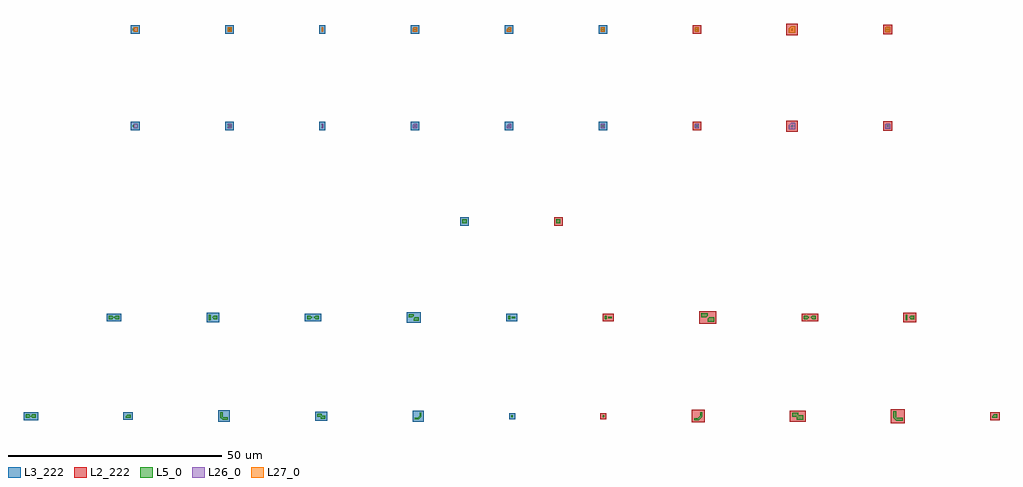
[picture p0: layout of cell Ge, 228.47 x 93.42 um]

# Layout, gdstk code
from math import pi, radians
import gdstk
lib = gdstk.Library(unit=1e-6, precision=5e-09)
def R(c, l, rs):  # rectangles x0, y0, x1, y1
    for r in rs: c.add(gdstk.rectangle(r[:2], r[2:], *l))
def P(c, l, *ps):  # polygons
    for p in ps: c.add(gdstk.Polygon(p, *l))
L2_222 = (2, 222)
L3_222 = (3, 222)
L5_0 = (5, 0)
L26_0 = (26, 0)
L27_0 = (27, 0)

compass_layerge_size0p4_ = lib.new_cell('compass_layerGE_size0p4__0p4')
R(compass_layerge_size0p4_, L5_0, [(-0.2,-0.2,0.2,0.2)])

rectangle_layerge_size0p = lib.new_cell('rectangle_layerGE_size0p4__0p4')
rectangle_layerge_size0p.add(gdstk.Reference(compass_layerge_size0p4_, (0.2,0.2)))

width_basic_width0_4_lay = lib.new_cell('width_basic_width0.4_layer_GE')
width_basic_width0_4_lay.add(gdstk.Reference(rectangle_layerge_size0p, (0,0)))

compass_abaa4390 = lib.new_cell('compass_abaa4390')
R(compass_abaa4390, L2_222, [(-0.7,-0.7,0.7,0.7)])

rectangle_abaa4390 = lib.new_cell('rectangle_abaa4390')
rectangle_abaa4390.add(gdstk.Reference(compass_abaa4390, (0.7,0.7)))

pass_fail_mk_a5a93bc7 = lib.new_cell('pass_fail_mk_a5a93bc7')
pass_fail_mk_a5a93bc7.add(gdstk.Reference(rectangle_abaa4390, (-0.5,-0.5)))
pass_fail_mk_a5a93bc7.add(gdstk.Label('ge.w.1', (-0.25,-0.25), layer=11, texttype=222))

compass_layerge_size0p39 = lib.new_cell('compass_layerGE_size0p39__0p39')
R(compass_layerge_size0p39, L5_0, [(-0.195,-0.195,0.195,0.195)])

c_rectangle_layerge_size0p = lib.new_cell('rectangle_layerGE_size0p39__0p39')
c_rectangle_layerge_size0p.add(gdstk.Reference(compass_layerge_size0p39, (0.195,0.195)))

width_basic_width0_39_la = lib.new_cell('width_basic_width0.39_layer_GE')
width_basic_width0_39_la.add(gdstk.Reference(c_rectangle_layerge_size0p, (0,0)))

compass_650bbf1b = lib.new_cell('compass_650bbf1b')
R(compass_650bbf1b, L3_222, [(-0.695,-0.695,0.695,0.695)])

rectangle_650bbf1b = lib.new_cell('rectangle_650bbf1b')
rectangle_650bbf1b.add(gdstk.Reference(compass_650bbf1b, (0.695,0.695)))

pass_fail_mk_a16e69ca = lib.new_cell('pass_fail_mk_a16e69ca')
pass_fail_mk_a16e69ca.add(gdstk.Reference(rectangle_650bbf1b, (-0.5,-0.5)))
pass_fail_mk_a16e69ca.add(gdstk.Label('ge.w.1', (-0.25,-0.25), layer=11, texttype=222))

extrude_e5152a84 = lib.new_cell('extrude_e5152a84')
P(extrude_e5152a84, L5_0, [(0,-0.25),(1.105,-0.25),(1.955,0.605),(1.955,1.705),(1.455,1.705),(1.455,0.81),(0.895,0.25),(0,0.25)])

width_45deg_width0_5_lay = lib.new_cell('width_45deg_width0.5_layer_GE')
width_45deg_width0_5_lay.add(gdstk.Reference(extrude_e5152a84, (0,0)))

compass_ff0f8aba = lib.new_cell('compass_ff0f8aba')
R(compass_ff0f8aba, L2_222, [(-1.48,-1.48,1.48,1.48)])

rectangle_ff0f8aba = lib.new_cell('rectangle_ff0f8aba')
rectangle_ff0f8aba.add(gdstk.Reference(compass_ff0f8aba, (1.48,1.48)))

pass_fail_mk_0cd017d8 = lib.new_cell('pass_fail_mk_0cd017d8')
pass_fail_mk_0cd017d8.add(gdstk.Reference(rectangle_ff0f8aba, (-0.5,-0.75)))
pass_fail_mk_0cd017d8.add(gdstk.Label('ge.w.1', (-0.25,-0.5), layer=11, texttype=222))

extrude_84ca7982 = lib.new_cell('extrude_84ca7982')
P(extrude_84ca7982, L5_0, [(0,-0.195),(0.86,-0.195),(1.525,0.47),(1.525,1.33),(1.135,1.33),(1.135,0.63),(0.7,0.195),(0,0.195)])

width_45deg_width0_39_la = lib.new_cell('width_45deg_width0.39_layer_GE')
width_45deg_width0_39_la.add(gdstk.Reference(extrude_84ca7982, (0,0)))

compass_373f1c06 = lib.new_cell('compass_373f1c06')
R(compass_373f1c06, L3_222, [(-1.265,-1.265,1.265,1.265)])

rectangle_373f1c06 = lib.new_cell('rectangle_373f1c06')
rectangle_373f1c06.add(gdstk.Reference(compass_373f1c06, (1.265,1.265)))

pass_fail_mk_d5b97daa = lib.new_cell('pass_fail_mk_d5b97daa')
pass_fail_mk_d5b97daa.add(gdstk.Reference(rectangle_373f1c06, (-0.5,-0.695)))
pass_fail_mk_d5b97daa.add(gdstk.Label('ge.w.1', (-0.25,-0.445), layer=11, texttype=222))

boolean_fb724f76 = lib.new_cell('boolean_fb724f76')
P(boolean_fb724f76, L5_0, [(1.5,1),(0.355,1),(0.355,1.645),(-1.145,1.645),(-1.145,0.645),(0,0.645),(0,0),(1.5,0)])

width_cor2cor_width0_5_l = lib.new_cell('width_cor2cor_width0.5_layer_GE')
width_cor2cor_width0_5_l.add(gdstk.Reference(boolean_fb724f76, (0,0)))

compass_5aafb171 = lib.new_cell('compass_5aafb171')
R(compass_5aafb171, L2_222, [(-1.825,-1.325,1.825,1.325)])

rectangle_5aafb171 = lib.new_cell('rectangle_5aafb171')
rectangle_5aafb171.add(gdstk.Reference(compass_5aafb171, (1.825,1.325)))

pass_fail_mk_f03dbf48 = lib.new_cell('pass_fail_mk_f03dbf48')
pass_fail_mk_f03dbf48.add(gdstk.Reference(rectangle_5aafb171, (-1.645,-0.5)))
pass_fail_mk_f03dbf48.add(gdstk.Label('ge.w.1', (-1.395,-0.25), layer=11, texttype=222))

boolean_46b64d44 = lib.new_cell('boolean_46b64d44')
P(boolean_46b64d44, L5_0, [(1.05,0.7),(0.25,0.7),(0.25,1.155),(-0.805,1.155),(-0.805,0.455),(0,0.455),(0,0),(1.05,0)])

width_cor2cor_width0_350 = lib.new_cell('width_cor2cor_width0.35000000000000003_layer_GE')
width_cor2cor_width0_350.add(gdstk.Reference(boolean_46b64d44, (0,0)))

compass_4df7383d = lib.new_cell('compass_4df7383d')
R(compass_4df7383d, L3_222, [(-1.425,-1.075,1.425,1.075)])

rectangle_4df7383d = lib.new_cell('rectangle_4df7383d')
rectangle_4df7383d.add(gdstk.Reference(compass_4df7383d, (1.425,1.075)))

pass_fail_mk_e88b8116 = lib.new_cell('pass_fail_mk_e88b8116')
pass_fail_mk_e88b8116.add(gdstk.Reference(rectangle_4df7383d, (-1.3,-0.5)))
pass_fail_mk_e88b8116.add(gdstk.Label('ge.w.1', (-1.05,-0.25), layer=11, texttype=222))

boolean_c3d1b7d9 = lib.new_cell('boolean_c3d1b7d9')
P(boolean_c3d1b7d9, L5_0, [(-0.71,1.5),(-0.71,-0.005),(-0.005,-0.71),(0,-0.71),(0,-0.71),(1.5,-0.71),(1.5,0),(0,0),(0,1.5)])

width_cor_45deg_width0_5 = lib.new_cell('width_cor_45deg_width0.5_layer_GE')
width_cor_45deg_width0_5.add(gdstk.Reference(boolean_c3d1b7d9, (0,0)))

compass_24c9d74d = lib.new_cell('compass_24c9d74d')
R(compass_24c9d74d, L2_222, [(-1.605,-1.605,1.605,1.605)])

rectangle_24c9d74d = lib.new_cell('rectangle_24c9d74d')
rectangle_24c9d74d.add(gdstk.Reference(compass_24c9d74d, (1.605,1.605)))

pass_fail_mk_6c9fe077 = lib.new_cell('pass_fail_mk_6c9fe077')
pass_fail_mk_6c9fe077.add(gdstk.Reference(rectangle_24c9d74d, (-1.21,-1.21)))
pass_fail_mk_6c9fe077.add(gdstk.Label('ge.w.1', (-0.96,-0.96), layer=11, texttype=222))

boolean_c17401a6 = lib.new_cell('boolean_c17401a6')
P(boolean_c17401a6, L5_0, [(-0.55,1.17),(-0.55,-0.005),(-0.005,-0.55),(0,-0.55),(0,-0.555),(1.17,-0.555),(1.17,0),(0,0),(0,1.17)])

width_cor_45deg_width0_3 = lib.new_cell('width_cor_45deg_width0.39_layer_GE')
width_cor_45deg_width0_3.add(gdstk.Reference(boolean_c17401a6, (0,0)))

compass_422bfea1 = lib.new_cell('compass_422bfea1')
R(compass_422bfea1, L3_222, [(-1.36,-1.36,1.36,1.36)])

rectangle_422bfea1 = lib.new_cell('rectangle_422bfea1')
rectangle_422bfea1.add(gdstk.Reference(compass_422bfea1, (1.36,1.36)))

pass_fail_mk_2394df10 = lib.new_cell('pass_fail_mk_2394df10')
pass_fail_mk_2394df10.add(gdstk.Reference(rectangle_422bfea1, (-1.05,-1.05)))
pass_fail_mk_2394df10.add(gdstk.Label('ge.w.1', (-0.8,-0.8), layer=11, texttype=222))

boolean_9537aae0 = lib.new_cell('boolean_9537aae0')
P(boolean_9537aae0, L5_0, [(1.2,0.8),(0.4,0.8),(0,0.4),(0,0),(1.2,0)])

width_cor_45deg_width0_4 = lib.new_cell('width_cor_45deg_width0.4_layer_GE')
width_cor_45deg_width0_4.add(gdstk.Reference(boolean_9537aae0, (0,0)))

compass_cb87cfef = lib.new_cell('compass_cb87cfef')
R(compass_cb87cfef, L2_222, [(-1.1,-0.9,1.1,0.9)])

rectangle_cb87cfef = lib.new_cell('rectangle_cb87cfef')
rectangle_cb87cfef.add(gdstk.Reference(compass_cb87cfef, (1.1,0.9)))

pass_fail_mk_e4c8d3e9 = lib.new_cell('pass_fail_mk_e4c8d3e9')
pass_fail_mk_e4c8d3e9.add(gdstk.Reference(rectangle_cb87cfef, (-0.5,-0.5)))
pass_fail_mk_e4c8d3e9.add(gdstk.Label('ge.w.1', (-0.25,-0.25), layer=11, texttype=222))

boolean_08bdff1a = lib.new_cell('boolean_08bdff1a')
P(boolean_08bdff1a, L5_0, [(1.17,0.78),(0.39,0.78),(0,0.39),(0,0),(1.17,0)])

c_width_cor_45deg_width0_3 = lib.new_cell('width_cor_45deg_width0.39_layer_GE$1')
c_width_cor_45deg_width0_3.add(gdstk.Reference(boolean_08bdff1a, (0,0)))

compass_3b45272a = lib.new_cell('compass_3b45272a')
R(compass_3b45272a, L3_222, [(-1.085,-0.89,1.085,0.89)])

rectangle_3b45272a = lib.new_cell('rectangle_3b45272a')
rectangle_3b45272a.add(gdstk.Reference(compass_3b45272a, (1.085,0.89)))

pass_fail_mk_0936af12 = lib.new_cell('pass_fail_mk_0936af12')
pass_fail_mk_0936af12.add(gdstk.Reference(rectangle_3b45272a, (-0.5,-0.5)))
pass_fail_mk_0936af12.add(gdstk.Label('ge.w.1', (-0.25,-0.25), layer=11, texttype=222))

boolean_e46a8f88 = lib.new_cell('boolean_e46a8f88')
P(boolean_e46a8f88, L5_0, [(0,0),(0.8,0),(0.8,0.8),(0,0.8),(0,0.8),(-0.4,0.4),(0,0)])

width_singular_width0_4_ = lib.new_cell('width_singular_width0.4_layer_GE')
width_singular_width0_4_.add(gdstk.Reference(boolean_e46a8f88, (0,0)))
width_singular_width0_4_.add(gdstk.Reference(boolean_e46a8f88, (-0.8,0.8), rotation=pi))

compass_b6777283 = lib.new_cell('compass_b6777283')
R(compass_b6777283, L3_222, [(-1.7,-0.9,1.7,0.9)])

rectangle_b6777283 = lib.new_cell('rectangle_b6777283')
rectangle_b6777283.add(gdstk.Reference(compass_b6777283, (1.7,0.9)))

pass_fail_mk_5d666cf3 = lib.new_cell('pass_fail_mk_5d666cf3')
pass_fail_mk_5d666cf3.add(gdstk.Reference(rectangle_b6777283, (-2.1,-0.5)))
pass_fail_mk_5d666cf3.add(gdstk.Label('ge.w.1', (-1.85,-0.25), layer=11, texttype=222))

width_patterns_width0_4_ = lib.new_cell('width_patterns_width0.4_layerGE')
width_patterns_width0_4_.add(gdstk.Reference(width_basic_width0_4_lay, (0,0)))
width_patterns_width0_4_.add(gdstk.Reference(pass_fail_mk_a5a93bc7, (0,0)))
width_patterns_width0_4_.add(gdstk.Reference(width_basic_width0_39_la, (-21.39,0.005)))
width_patterns_width0_4_.add(gdstk.Reference(pass_fail_mk_a16e69ca, (-21.39,0.005)))
width_patterns_width0_4_.add(gdstk.Reference(width_45deg_width0_5_lay, (21.4,-0.53)))
width_patterns_width0_4_.add(gdstk.Reference(pass_fail_mk_0cd017d8, (21.4,-0.53)))
width_patterns_width0_4_.add(gdstk.Reference(width_45deg_width0_39_la, (-43.92,-0.37)))
width_patterns_width0_4_.add(gdstk.Reference(pass_fail_mk_d5b97daa, (-43.92,-0.37)))
width_patterns_width0_4_.add(gdstk.Reference(width_cor2cor_width0_5_l, (45.5,-0.625)))
width_patterns_width0_4_.add(gdstk.Reference(pass_fail_mk_f03dbf48, (45.5,-0.625)))
width_patterns_width0_4_.add(gdstk.Reference(width_cor2cor_width0_350, (-65.97,-0.375)))
width_patterns_width0_4_.add(gdstk.Reference(pass_fail_mk_e88b8116, (-65.97,-0.375)))
width_patterns_width0_4_.add(gdstk.Reference(width_cor_45deg_width0_5, (68.71,-0.195)))
width_patterns_width0_4_.add(gdstk.Reference(pass_fail_mk_6c9fe077, (68.71,-0.195)))
width_patterns_width0_4_.add(gdstk.Reference(width_cor_45deg_width0_3, (-88.94,-0.11)))
width_patterns_width0_4_.add(gdstk.Reference(pass_fail_mk_2394df10, (-88.94,-0.11)))
width_patterns_width0_4_.add(gdstk.Reference(width_cor_45deg_width0_4, (91.21,-0.2)))
width_patterns_width0_4_.add(gdstk.Reference(pass_fail_mk_e4c8d3e9, (91.21,-0.2)))
width_patterns_width0_4_.add(gdstk.Reference(c_width_cor_45deg_width0_3, (-111.66,-0.19)))
width_patterns_width0_4_.add(gdstk.Reference(pass_fail_mk_0936af12, (-111.66,-0.19)))
width_patterns_width0_4_.add(gdstk.Reference(width_singular_width0_4_, (-133.46,-0.2)))
width_patterns_width0_4_.add(gdstk.Reference(pass_fail_mk_5d666cf3, (-133.46,-0.2)))

c_compass_layerge_size0p4_ = lib.new_cell('compass_layerGE_size0p4__0p8')
R(c_compass_layerge_size0p4_, L5_0, [(-0.2,-0.4,0.2,0.4)])

c_rectangle_layerge_size0p_ = lib.new_cell('rectangle_layerGE_size0p4__0p8')
c_rectangle_layerge_size0p_.add(gdstk.Reference(c_compass_layerge_size0p4_, (0.2,0.4)))

compass_layerge_size0p8_ = lib.new_cell('compass_layerGE_size0p8__0p4')
R(compass_layerge_size0p8_, L5_0, [(-0.4,-0.2,0.4,0.2)])

c_rectangle_layerge_size0p__ = lib.new_cell('rectangle_layerGE_size0p8__0p4')
c_rectangle_layerge_size0p__.add(gdstk.Reference(compass_layerge_size0p8_, (0.4,0.2)))

space_basic_spacing0_4_l = lib.new_cell('space_basic_spacing0.4_layer1GE_layer2GE')
space_basic_spacing0_4_l.add(gdstk.Reference(c_rectangle_layerge_size0p_, (-0.4,0.6), rotation=pi))
space_basic_spacing0_4_l.add(gdstk.Reference(c_rectangle_layerge_size0p__, (0,0)))

compass_0661bdc1 = lib.new_cell('compass_0661bdc1')
R(compass_0661bdc1, L2_222, [(-1.3,-0.9,1.3,0.9)])

rectangle_0661bdc1 = lib.new_cell('rectangle_0661bdc1')
rectangle_0661bdc1.add(gdstk.Reference(compass_0661bdc1, (1.3,0.9)))

pass_fail_mk_60c5c571 = lib.new_cell('pass_fail_mk_60c5c571')
pass_fail_mk_60c5c571.add(gdstk.Reference(rectangle_0661bdc1, (-1.3,-0.7)))
pass_fail_mk_60c5c571.add(gdstk.Label('ge.s.1', (-1.05,-0.45), layer=11, texttype=222))

space_basic_spacing0_39_ = lib.new_cell('space_basic_spacing0.39_layer1GE_layer2GE')
space_basic_spacing0_39_.add(gdstk.Reference(c_rectangle_layerge_size0p_, (-0.39,0.6), rotation=pi))
space_basic_spacing0_39_.add(gdstk.Reference(c_rectangle_layerge_size0p__, (0,0)))

compass_d3ea01bc = lib.new_cell('compass_d3ea01bc')
R(compass_d3ea01bc, L3_222, [(-1.295,-0.9,1.295,0.9)])

rectangle_d3ea01bc = lib.new_cell('rectangle_d3ea01bc')
rectangle_d3ea01bc.add(gdstk.Reference(compass_d3ea01bc, (1.295,0.9)))

pass_fail_mk_851eec26 = lib.new_cell('pass_fail_mk_851eec26')
pass_fail_mk_851eec26.add(gdstk.Reference(rectangle_d3ea01bc, (-1.29,-0.7)))
pass_fail_mk_851eec26.add(gdstk.Label('ge.s.1', (-1.04,-0.45), layer=11, texttype=222))

boolean_9f916d28 = lib.new_cell('boolean_9f916d28')
P(boolean_9f916d28, L5_0, [(1.5,1),(0.355,1),(0,0.645),(0,0),(1.5,0)])

space_45deg_spacing0_5_l = lib.new_cell('space_45deg_spacing0.5_layer1GE_layer2GE')
space_45deg_spacing0_5_l.add(gdstk.Reference(boolean_9f916d28, (0,0)))
space_45deg_spacing0_5_l.add(gdstk.Reference(boolean_9f916d28, (0,2), rotation=pi))

compass_00dc3164 = lib.new_cell('compass_00dc3164')
R(compass_00dc3164, L2_222, [(-2,-1.5,2,1.5)])

rectangle_00dc3164 = lib.new_cell('rectangle_00dc3164')
rectangle_00dc3164.add(gdstk.Reference(compass_00dc3164, (2,1.5)))

pass_fail_mk_bf537650 = lib.new_cell('pass_fail_mk_bf537650')
pass_fail_mk_bf537650.add(gdstk.Reference(rectangle_00dc3164, (-2,-0.5)))
pass_fail_mk_bf537650.add(gdstk.Label('ge.s.1', (-1.75,-0.25), layer=11, texttype=222))

boolean_9b403b2c = lib.new_cell('boolean_9b403b2c')
P(boolean_9b403b2c, L5_0, [(1.17,0.78),(0.275,0.78),(0,0.505),(0,0),(1.17,0)])

space_45deg_spacing0_39_ = lib.new_cell('space_45deg_spacing0.39_layer1GE_layer2GE')
space_45deg_spacing0_39_.add(gdstk.Reference(boolean_9b403b2c, (0,0)))
space_45deg_spacing0_39_.add(gdstk.Reference(boolean_9b403b2c, (0,1.56), rotation=pi))

compass_60910a99 = lib.new_cell('compass_60910a99')
R(compass_60910a99, L3_222, [(-1.67,-1.28,1.67,1.28)])

rectangle_60910a99 = lib.new_cell('rectangle_60910a99')
rectangle_60910a99.add(gdstk.Reference(compass_60910a99, (1.67,1.28)))

pass_fail_mk_f58d4a42 = lib.new_cell('pass_fail_mk_f58d4a42')
pass_fail_mk_f58d4a42.add(gdstk.Reference(rectangle_60910a99, (-1.67,-0.5)))
pass_fail_mk_f58d4a42.add(gdstk.Label('ge.s.1', (-1.42,-0.25), layer=11, texttype=222))

boolean_72ef2a4f = lib.new_cell('boolean_72ef2a4f')
P(boolean_72ef2a4f, L5_0, [(0,0),(0.8,0),(0.8,0.8),(0,0.8),(0,0.8),(-0.4,0.4),(0,0)])

space_cor2cor_spacing0_4 = lib.new_cell('space_cor2cor_spacing0.4_layer1GE_layer2GE')
space_cor2cor_spacing0_4.add(gdstk.Reference(boolean_e46a8f88, (0,0)))
space_cor2cor_spacing0_4.add(gdstk.Reference(boolean_72ef2a4f, (-1.2,0.8), rotation=pi))

compass_b5ef008f = lib.new_cell('compass_b5ef008f')
R(compass_b5ef008f, L2_222, [(-1.9,-0.9,1.9,0.9)])

rectangle_b5ef008f = lib.new_cell('rectangle_b5ef008f')
rectangle_b5ef008f.add(gdstk.Reference(compass_b5ef008f, (1.9,0.9)))

pass_fail_mk_611fa409 = lib.new_cell('pass_fail_mk_611fa409')
pass_fail_mk_611fa409.add(gdstk.Reference(rectangle_b5ef008f, (-2.5,-0.5)))
pass_fail_mk_611fa409.add(gdstk.Label('ge.s.1', (-2.25,-0.25), layer=11, texttype=222))

space_cor2cor_spacing0_3 = lib.new_cell('space_cor2cor_spacing0.39_layer1GE_layer2GE')
space_cor2cor_spacing0_3.add(gdstk.Reference(boolean_e46a8f88, (0,0)))
space_cor2cor_spacing0_3.add(gdstk.Reference(boolean_72ef2a4f, (-1.19,0.8), rotation=pi))

compass_1faf0ee8 = lib.new_cell('compass_1faf0ee8')
R(compass_1faf0ee8, L3_222, [(-1.895,-0.9,1.895,0.9)])

rectangle_1faf0ee8 = lib.new_cell('rectangle_1faf0ee8')
rectangle_1faf0ee8.add(gdstk.Reference(compass_1faf0ee8, (1.895,0.9)))

pass_fail_mk_289e889f = lib.new_cell('pass_fail_mk_289e889f')
pass_fail_mk_289e889f.add(gdstk.Reference(rectangle_1faf0ee8, (-2.49,-0.5)))
pass_fail_mk_289e889f.add(gdstk.Label('ge.s.1', (-2.24,-0.25), layer=11, texttype=222))

c_compass_layerge_size0p4__ = lib.new_cell('compass_layerGE_size0p4__1p2')
R(c_compass_layerge_size0p4__, L5_0, [(-0.2,-0.6,0.2,0.6)])

c_rectangle_layerge_size0p___ = lib.new_cell('rectangle_layerGE_size0p4__1p2')
c_rectangle_layerge_size0p___.add(gdstk.Reference(c_compass_layerge_size0p4__, (0.2,0.6)))

space_cor2edge_spacing0_ = lib.new_cell('space_cor2edge_spacing0.4_layer1GE_layer2GE')
space_cor2edge_spacing0_.add(gdstk.Reference(c_rectangle_layerge_size0p___, (-1.2,-0.2)))
space_cor2edge_spacing0_.add(gdstk.Reference(boolean_e46a8f88, (0,0)))

compass_ef9a3369 = lib.new_cell('compass_ef9a3369')
R(compass_ef9a3369, L2_222, [(-1.5,-1.1,1.5,1.1)])

rectangle_ef9a3369 = lib.new_cell('rectangle_ef9a3369')
rectangle_ef9a3369.add(gdstk.Reference(compass_ef9a3369, (1.5,1.1)))

pass_fail_mk_819e8e96 = lib.new_cell('pass_fail_mk_819e8e96')
pass_fail_mk_819e8e96.add(gdstk.Reference(rectangle_ef9a3369, (-1.7,-0.7)))
pass_fail_mk_819e8e96.add(gdstk.Label('ge.s.1', (-1.45,-0.45), layer=11, texttype=222))

c_space_cor2edge_spacing0_ = lib.new_cell('space_cor2edge_spacing0.39_layer1GE_layer2GE')
c_space_cor2edge_spacing0_.add(gdstk.Reference(c_rectangle_layerge_size0p___, (-1.19,-0.2)))
c_space_cor2edge_spacing0_.add(gdstk.Reference(boolean_e46a8f88, (0,0)))

compass_b10f19f7 = lib.new_cell('compass_b10f19f7')
R(compass_b10f19f7, L3_222, [(-1.495,-1.1,1.495,1.1)])

rectangle_b10f19f7 = lib.new_cell('rectangle_b10f19f7')
rectangle_b10f19f7.add(gdstk.Reference(compass_b10f19f7, (1.495,1.1)))

pass_fail_mk_886cc82d = lib.new_cell('pass_fail_mk_886cc82d')
pass_fail_mk_886cc82d.add(gdstk.Reference(rectangle_b10f19f7, (-1.69,-0.7)))
pass_fail_mk_886cc82d.add(gdstk.Label('ge.s.1', (-1.44,-0.45), layer=11, texttype=222))

space_singular_layer1ge_ = lib.new_cell('space_singular_layer1GE_layer2GE')
space_singular_layer1ge_.add(gdstk.Reference(boolean_e46a8f88, (0,0)))
space_singular_layer1ge_.add(gdstk.Reference(boolean_e46a8f88, (-0.8,0.8), rotation=pi))

pass_fail_mk_fc5fe479 = lib.new_cell('pass_fail_mk_fc5fe479')
pass_fail_mk_fc5fe479.add(gdstk.Reference(rectangle_b6777283, (-2.1,-0.5)))
pass_fail_mk_fc5fe479.add(gdstk.Label('ge.s.1', (-1.85,-0.25), layer=11, texttype=222))

space_patterns_width0_4_ = lib.new_cell('space_patterns_width0.4_layer1GE_layer2GE')
space_patterns_width0_4_.add(gdstk.Reference(space_basic_spacing0_4_l, (0,0)))
space_patterns_width0_4_.add(gdstk.Reference(pass_fail_mk_60c5c571, (0,0)))
space_patterns_width0_4_.add(gdstk.Reference(space_basic_spacing0_39_, (-22.6,0)))
space_patterns_width0_4_.add(gdstk.Reference(pass_fail_mk_851eec26, (-22.6,0)))
space_patterns_width0_4_.add(gdstk.Reference(space_45deg_spacing0_5_l, (23.3,-0.8)))
space_patterns_width0_4_.add(gdstk.Reference(pass_fail_mk_bf537650, (23.3,-0.8)))
space_patterns_width0_4_.add(gdstk.Reference(space_45deg_spacing0_39_, (-45.56,-0.58)))
space_patterns_width0_4_.add(gdstk.Reference(pass_fail_mk_f58d4a42, (-45.56,-0.58)))
space_patterns_width0_4_.add(gdstk.Reference(space_cor2cor_spacing0_4, (47.8,-0.2)))
space_patterns_width0_4_.add(gdstk.Reference(pass_fail_mk_611fa409, (47.8,-0.2)))
space_patterns_width0_4_.add(gdstk.Reference(space_cor2cor_spacing0_3, (-68.53,-0.2)))
space_patterns_width0_4_.add(gdstk.Reference(pass_fail_mk_289e889f, (-68.53,-0.2)))
space_patterns_width0_4_.add(gdstk.Reference(space_cor2edge_spacing0_, (70.8,-0.2)))
space_patterns_width0_4_.add(gdstk.Reference(pass_fail_mk_819e8e96, (70.8,-0.2)))
space_patterns_width0_4_.add(gdstk.Reference(c_space_cor2edge_spacing0_, (-92.32,-0.2)))
space_patterns_width0_4_.add(gdstk.Reference(pass_fail_mk_886cc82d, (-92.32,-0.2)))
space_patterns_width0_4_.add(gdstk.Reference(space_singular_layer1ge_, (-115.31,-0.2)))
space_patterns_width0_4_.add(gdstk.Reference(pass_fail_mk_fc5fe479, (-115.31,-0.2)))

compass_layerge_size1p00 = lib.new_cell('compass_layerGE_size1p005__1p005')
R(compass_layerge_size1p00, L5_0, [(-0.5,-0.5,0.5,0.5)])

rectangle_layerge_size1p = lib.new_cell('rectangle_layerGE_size1p005__1p005')
rectangle_layerge_size1p.add(gdstk.Reference(compass_layerge_size1p00, (0.5,0.5)))

area_basic_area1_01_laye = lib.new_cell('area_basic_area1.01_layerGE')
area_basic_area1_01_laye.add(gdstk.Reference(rectangle_layerge_size1p, (0,0)))

compass_880567ed = lib.new_cell('compass_880567ed')
R(compass_880567ed, L2_222, [(-1,-1,1,1)])

rectangle_880567ed = lib.new_cell('rectangle_880567ed')
rectangle_880567ed.add(gdstk.Reference(compass_880567ed, (1,1)))

pass_fail_mk_dd180202 = lib.new_cell('pass_fail_mk_dd180202')
pass_fail_mk_dd180202.add(gdstk.Reference(rectangle_880567ed, (-0.5,-0.5)))
pass_fail_mk_dd180202.add(gdstk.Label('ge.a.1', (-0.25,-0.25), layer=11, texttype=222))

compass_layerge_size0p94 = lib.new_cell('compass_layerGE_size0p949__0p949')
R(compass_layerge_size0p94, L5_0, [(-0.475,-0.475,0.475,0.475)])

c_rectangle_layerge_size0p____ = lib.new_cell('rectangle_layerGE_size0p949__0p949')
c_rectangle_layerge_size0p____.add(gdstk.Reference(compass_layerge_size0p94, (0.475,0.475)))

area_basic_area0_9_layer = lib.new_cell('area_basic_area0.9_layerGE')
area_basic_area0_9_layer.add(gdstk.Reference(c_rectangle_layerge_size0p____, (0,0)))

compass_da02a2ad = lib.new_cell('compass_da02a2ad')
R(compass_da02a2ad, L3_222, [(-0.975,-0.975,0.975,0.975)])

rectangle_da02a2ad = lib.new_cell('rectangle_da02a2ad')
rectangle_da02a2ad.add(gdstk.Reference(compass_da02a2ad, (0.975,0.975)))

pass_fail_mk_9d509505 = lib.new_cell('pass_fail_mk_9d509505')
pass_fail_mk_9d509505.add(gdstk.Reference(rectangle_da02a2ad, (-0.5,-0.5)))
pass_fail_mk_9d509505.add(gdstk.Label('ge.a.1', (-0.25,-0.25), layer=11, texttype=222))

area_patterns_area1_0_la = lib.new_cell('area_patterns_area1.0_layerGE')
area_patterns_area1_0_la.add(gdstk.Reference(area_basic_area1_01_laye, (0,0)))
area_patterns_area1_0_la.add(gdstk.Reference(pass_fail_mk_dd180202, (0,0)))
area_patterns_area1_0_la.add(gdstk.Reference(area_basic_area0_9_layer, (-21.95,0.03)))
area_patterns_area1_0_la.add(gdstk.Reference(pass_fail_mk_9d509505, (-21.95,0.025)))

compass_layergen_size1p0 = lib.new_cell('compass_layerGEN_size1p0__1p0')
R(compass_layergen_size1p0, L26_0, [(-0.5,-0.5,0.5,0.5)])

rectangle_layergen_size1 = lib.new_cell('rectangle_layerGEN_size1p0__1p0')
rectangle_layergen_size1.add(gdstk.Reference(compass_layergen_size1p0, (0.5,0.5)))

enclose_basic_enc0_3_wid = lib.new_cell('enclose_basic_enc0.3_width0.4_layer_GE_enc_layerGEN')
enclose_basic_enc0_3_wid.add(gdstk.Reference(rectangle_layerge_size0p, (0,0)))
enclose_basic_enc0_3_wid.add(gdstk.Reference(rectangle_layergen_size1, (-0.3,-0.3)))

compass_20d580df = lib.new_cell('compass_20d580df')
R(compass_20d580df, L2_222, [(-1,-1,1,1)])

rectangle_20d580df = lib.new_cell('rectangle_20d580df')
rectangle_20d580df.add(gdstk.Reference(compass_20d580df, (1,1)))

pass_fail_mk_ff467fae = lib.new_cell('pass_fail_mk_ff467fae')
pass_fail_mk_ff467fae.add(gdstk.Reference(rectangle_20d580df, (-0.8,-0.8)))
pass_fail_mk_ff467fae.add(gdstk.Label('ge.en.1', (-0.55,-0.55), layer=11, texttype=222))

compass_layergen_size0p9 = lib.new_cell('compass_layerGEN_size0p98__0p98')
R(compass_layergen_size0p9, L26_0, [(-0.49,-0.49,0.49,0.49)])

rectangle_layergen_size0 = lib.new_cell('rectangle_layerGEN_size0p98__0p98')
rectangle_layergen_size0.add(gdstk.Reference(compass_layergen_size0p9, (0.49,0.49)))

enclose_basic_enc0_29_wi = lib.new_cell('enclose_basic_enc0.29_width0.4_layer_GE_enc_layerGEN')
enclose_basic_enc0_29_wi.add(gdstk.Reference(rectangle_layerge_size0p, (0,0)))
enclose_basic_enc0_29_wi.add(gdstk.Reference(rectangle_layergen_size0, (-0.29,-0.29)))

compass_efdcafa3 = lib.new_cell('compass_efdcafa3')
R(compass_efdcafa3, L3_222, [(-0.99,-0.99,0.99,0.99)])

rectangle_efdcafa3 = lib.new_cell('rectangle_efdcafa3')
rectangle_efdcafa3.add(gdstk.Reference(compass_efdcafa3, (0.99,0.99)))

pass_fail_mk_30ee1828 = lib.new_cell('pass_fail_mk_30ee1828')
pass_fail_mk_30ee1828.add(gdstk.Reference(rectangle_efdcafa3, (-0.79,-0.79)))
pass_fail_mk_30ee1828.add(gdstk.Label('ge.en.1', (-0.54,-0.54), layer=11, texttype=222))

boolean_d471c5e5 = lib.new_cell('boolean_d471c5e5')
P(boolean_d471c5e5, L5_0, [(0.4,0.4),(0.14,0.4),(0,0.26),(0,0),(0.4,0)])

boolean_d11883be = lib.new_cell('boolean_d11883be')
P(boolean_d11883be, L26_0, [(1,1),(-0.01,1),(-0.6,0.41),(-0.6,-0.6),(1,-0.6)])

enclose_45deg_enc0_6_wid = lib.new_cell('enclose_45deg_enc0.6_width0.4_layer_GE_enc_layerGEN')
enclose_45deg_enc0_6_wid.add(gdstk.Reference(boolean_d471c5e5, (0,0)))
enclose_45deg_enc0_6_wid.add(gdstk.Reference(boolean_d11883be, (0,0)))

compass_b90d489f = lib.new_cell('compass_b90d489f')
R(compass_b90d489f, L2_222, [(-1.3,-1.3,1.3,1.3)])

rectangle_b90d489f = lib.new_cell('rectangle_b90d489f')
rectangle_b90d489f.add(gdstk.Reference(compass_b90d489f, (1.3,1.3)))

pass_fail_mk_25881f6f = lib.new_cell('pass_fail_mk_25881f6f')
pass_fail_mk_25881f6f.add(gdstk.Reference(rectangle_b90d489f, (-1.1,-1.1)))
pass_fail_mk_25881f6f.add(gdstk.Label('ge.en.1', (-0.85,-0.85), layer=11, texttype=222))

boolean_49873eeb = lib.new_cell('boolean_49873eeb')
P(boolean_49873eeb, L26_0, [(0.69,0.69),(0.1,0.69),(-0.29,0.305),(-0.29,-0.29),(0.69,-0.29)])

enclose_45deg_enc0_29_wi = lib.new_cell('enclose_45deg_enc0.29_width0.4_layer_GE_enc_layerGEN')
enclose_45deg_enc0_29_wi.add(gdstk.Reference(boolean_d471c5e5, (0,0)))
enclose_45deg_enc0_29_wi.add(gdstk.Reference(boolean_49873eeb, (0,0)))

pass_fail_mk_de88c3e2 = lib.new_cell('pass_fail_mk_de88c3e2')
pass_fail_mk_de88c3e2.add(gdstk.Reference(rectangle_efdcafa3, (-0.79,-0.79)))
pass_fail_mk_de88c3e2.add(gdstk.Label('ge.en.1', (-0.54,-0.54), layer=11, texttype=222))

boolean_14fe107b = lib.new_cell('boolean_14fe107b')
P(boolean_14fe107b, L26_0, [(0.8,0.8),(-0.17,0.8),(-0.4,0.57),(-0.4,-0.4),(0.8,-0.4)])

enclose_cor2edge_enc0_4_ = lib.new_cell('enclose_cor2edge_enc0.4_width0.4_layer_GE_enc_layerGEN')
enclose_cor2edge_enc0_4_.add(gdstk.Reference(rectangle_layerge_size0p, (0,0)))
enclose_cor2edge_enc0_4_.add(gdstk.Reference(boolean_14fe107b, (0,0)))

compass_c5716439 = lib.new_cell('compass_c5716439')
R(compass_c5716439, L2_222, [(-1.1,-1.1,1.1,1.1)])

rectangle_c5716439 = lib.new_cell('rectangle_c5716439')
rectangle_c5716439.add(gdstk.Reference(compass_c5716439, (1.1,1.1)))

pass_fail_mk_ee99c1ff = lib.new_cell('pass_fail_mk_ee99c1ff')
pass_fail_mk_ee99c1ff.add(gdstk.Reference(rectangle_c5716439, (-0.9,-0.9)))
pass_fail_mk_ee99c1ff.add(gdstk.Label('ge.en.1', (-0.65,-0.65), layer=11, texttype=222))

boolean_43195f29 = lib.new_cell('boolean_43195f29')
P(boolean_43195f29, L26_0, [(0.69,0.69),(-0.125,0.69),(-0.29,0.525),(-0.29,-0.29),(0.69,-0.29)])

enclose_cor2edge_enc0_29 = lib.new_cell('enclose_cor2edge_enc0.29_width0.4_layer_GE_enc_layerGEN')
enclose_cor2edge_enc0_29.add(gdstk.Reference(rectangle_layerge_size0p, (0,0)))
enclose_cor2edge_enc0_29.add(gdstk.Reference(boolean_43195f29, (0,0)))

pass_fail_mk_73b75c9e = lib.new_cell('pass_fail_mk_73b75c9e')
pass_fail_mk_73b75c9e.add(gdstk.Reference(rectangle_efdcafa3, (-0.79,-0.79)))
pass_fail_mk_73b75c9e.add(gdstk.Label('ge.en.1', (-0.54,-0.54), layer=11, texttype=222))

compass_layergen_size0p4 = lib.new_cell('compass_layerGEN_size0p4__0p98')
R(compass_layergen_size0p4, L26_0, [(-0.2,-0.49,0.2,0.49)])

c_rectangle_layergen_size0 = lib.new_cell('rectangle_layerGEN_size0p4__0p98')
c_rectangle_layergen_size0.add(gdstk.Reference(compass_layergen_size0p4, (0.2,0.49)))

enclose_touch_enc0_29_wi = lib.new_cell('enclose_touch_enc0.29_width0.4_layer_GE_enc_layerGEN')
enclose_touch_enc0_29_wi.add(gdstk.Reference(rectangle_layerge_size0p, (0,0)))
enclose_touch_enc0_29_wi.add(gdstk.Reference(c_rectangle_layergen_size0, (0,-0.29)))

compass_57927fd1 = lib.new_cell('compass_57927fd1')
R(compass_57927fd1, L3_222, [(-0.7,-0.99,0.7,0.99)])

rectangle_57927fd1 = lib.new_cell('rectangle_57927fd1')
rectangle_57927fd1.add(gdstk.Reference(compass_57927fd1, (0.7,0.99)))

pass_fail_mk_359e8c46 = lib.new_cell('pass_fail_mk_359e8c46')
pass_fail_mk_359e8c46.add(gdstk.Reference(rectangle_57927fd1, (-0.5,-0.79)))
pass_fail_mk_359e8c46.add(gdstk.Label('ge.en.1', (-0.25,-0.54), layer=11, texttype=222))

boolean_645972d4 = lib.new_cell('boolean_645972d4')
P(boolean_645972d4, L26_0, [(0.7,0.7),(-0.3,0.7),(-0.3,0.05),(0.05,0.05),(0.05,0.35),(0.35,0.35),(0.35,0.05),(0.05,0.05),(-0.3,0.05),(-0.3,-0.3),(0.7,-0.3)])

enclose_hole_enc0_3_widt = lib.new_cell('enclose_hole_enc0.3_width0.4_layer_GE_enc_layerGEN')
enclose_hole_enc0_3_widt.add(gdstk.Reference(rectangle_layerge_size0p, (0,0)))
enclose_hole_enc0_3_widt.add(gdstk.Reference(boolean_645972d4, (0,0)))

compass_27b5055d = lib.new_cell('compass_27b5055d')
R(compass_27b5055d, L3_222, [(-1,-1,1,1)])

rectangle_27b5055d = lib.new_cell('rectangle_27b5055d')
rectangle_27b5055d.add(gdstk.Reference(compass_27b5055d, (1,1)))

pass_fail_mk_8779e820 = lib.new_cell('pass_fail_mk_8779e820')
pass_fail_mk_8779e820.add(gdstk.Reference(rectangle_27b5055d, (-0.8,-0.8)))
pass_fail_mk_8779e820.add(gdstk.Label('ge.en.1', (-0.55,-0.55), layer=11, texttype=222))

enclose_intersect_enc0_3 = lib.new_cell('enclose_intersect_enc0.3_width0.4_layer_GE_enc_layerGEN')
enclose_intersect_enc0_3.add(gdstk.Reference(rectangle_layerge_size0p, (-0.5,0)))
enclose_intersect_enc0_3.add(gdstk.Reference(rectangle_layergen_size1, (-0.3,-0.3)))

compass_29ad2784 = lib.new_cell('compass_29ad2784')
R(compass_29ad2784, L3_222, [(-1.1,-1,1.1,1)])

rectangle_29ad2784 = lib.new_cell('rectangle_29ad2784')
rectangle_29ad2784.add(gdstk.Reference(compass_29ad2784, (1.1,1)))

pass_fail_mk_fdb2cc61 = lib.new_cell('pass_fail_mk_fdb2cc61')
pass_fail_mk_fdb2cc61.add(gdstk.Reference(rectangle_29ad2784, (-1,-0.8)))
pass_fail_mk_fdb2cc61.add(gdstk.Label('ge.en.1', (-0.75,-0.55), layer=11, texttype=222))

enclose_patterns_enclosu = lib.new_cell('enclose_patterns_enclosure0.3_width0.4_layerGE_enc_layerGEN')
enclose_patterns_enclosu.add(gdstk.Reference(enclose_basic_enc0_3_wid, (0,0)))
enclose_patterns_enclosu.add(gdstk.Reference(pass_fail_mk_ff467fae, (0,0)))
enclose_patterns_enclosu.add(gdstk.Reference(enclose_basic_enc0_29_wi, (-21.99,0)))
enclose_patterns_enclosu.add(gdstk.Reference(pass_fail_mk_30ee1828, (-21.99,0)))
enclose_patterns_enclosu.add(gdstk.Reference(enclose_45deg_enc0_6_wid, (22.3,0)))
enclose_patterns_enclosu.add(gdstk.Reference(pass_fail_mk_25881f6f, (22.3,0)))
enclose_patterns_enclosu.add(gdstk.Reference(enclose_45deg_enc0_29_wi, (-43.97,0)))
enclose_patterns_enclosu.add(gdstk.Reference(pass_fail_mk_de88c3e2, (-43.97,0)))
enclose_patterns_enclosu.add(gdstk.Reference(enclose_cor2edge_enc0_4_, (44.7,0)))
enclose_patterns_enclosu.add(gdstk.Reference(pass_fail_mk_ee99c1ff, (44.7,0)))
enclose_patterns_enclosu.add(gdstk.Reference(enclose_cor2edge_enc0_29, (-65.95,0)))
enclose_patterns_enclosu.add(gdstk.Reference(pass_fail_mk_73b75c9e, (-65.95,0)))
enclose_patterns_enclosu.add(gdstk.Reference(enclose_touch_enc0_29_wi, (-87.64,0)))
enclose_patterns_enclosu.add(gdstk.Reference(pass_fail_mk_359e8c46, (-87.64,0)))
enclose_patterns_enclosu.add(gdstk.Reference(enclose_hole_enc0_3_widt, (-109.34,0)))
enclose_patterns_enclosu.add(gdstk.Reference(pass_fail_mk_8779e820, (-109.34,0)))
enclose_patterns_enclosu.add(gdstk.Reference(enclose_intersect_enc0_3, (-131.34,0)))
enclose_patterns_enclosu.add(gdstk.Reference(pass_fail_mk_fdb2cc61, (-131.34,0)))

compass_layergep_size1p0 = lib.new_cell('compass_layerGEP_size1p0__1p0')
R(compass_layergep_size1p0, L27_0, [(-0.5,-0.5,0.5,0.5)])

rectangle_layergep_size1 = lib.new_cell('rectangle_layerGEP_size1p0__1p0')
rectangle_layergep_size1.add(gdstk.Reference(compass_layergep_size1p0, (0.5,0.5)))

c_enclose_basic_enc0_3_wid = lib.new_cell('enclose_basic_enc0.3_width0.4_layer_GE_enc_layerGEP')
c_enclose_basic_enc0_3_wid.add(gdstk.Reference(rectangle_layerge_size0p, (0,0)))
c_enclose_basic_enc0_3_wid.add(gdstk.Reference(rectangle_layergep_size1, (-0.3,-0.3)))

pass_fail_mk_aa3016c9 = lib.new_cell('pass_fail_mk_aa3016c9')
pass_fail_mk_aa3016c9.add(gdstk.Reference(rectangle_20d580df, (-0.8,-0.8)))
pass_fail_mk_aa3016c9.add(gdstk.Label('ge.en.2', (-0.55,-0.55), layer=11, texttype=222))

compass_layergep_size0p9 = lib.new_cell('compass_layerGEP_size0p98__0p98')
R(compass_layergep_size0p9, L27_0, [(-0.49,-0.49,0.49,0.49)])

rectangle_layergep_size0 = lib.new_cell('rectangle_layerGEP_size0p98__0p98')
rectangle_layergep_size0.add(gdstk.Reference(compass_layergep_size0p9, (0.49,0.49)))

c_enclose_basic_enc0_29_wi = lib.new_cell('enclose_basic_enc0.29_width0.4_layer_GE_enc_layerGEP')
c_enclose_basic_enc0_29_wi.add(gdstk.Reference(rectangle_layerge_size0p, (0,0)))
c_enclose_basic_enc0_29_wi.add(gdstk.Reference(rectangle_layergep_size0, (-0.29,-0.29)))

pass_fail_mk_ba10ad67 = lib.new_cell('pass_fail_mk_ba10ad67')
pass_fail_mk_ba10ad67.add(gdstk.Reference(rectangle_efdcafa3, (-0.79,-0.79)))
pass_fail_mk_ba10ad67.add(gdstk.Label('ge.en.2', (-0.54,-0.54), layer=11, texttype=222))

boolean_d11b5569 = lib.new_cell('boolean_d11b5569')
P(boolean_d11b5569, L27_0, [(1,1),(-0.01,1),(-0.6,0.41),(-0.6,-0.6),(1,-0.6)])

c_enclose_45deg_enc0_6_wid = lib.new_cell('enclose_45deg_enc0.6_width0.4_layer_GE_enc_layerGEP')
c_enclose_45deg_enc0_6_wid.add(gdstk.Reference(boolean_d471c5e5, (0,0)))
c_enclose_45deg_enc0_6_wid.add(gdstk.Reference(boolean_d11b5569, (0,0)))

pass_fail_mk_9584cf18 = lib.new_cell('pass_fail_mk_9584cf18')
pass_fail_mk_9584cf18.add(gdstk.Reference(rectangle_b90d489f, (-1.1,-1.1)))
pass_fail_mk_9584cf18.add(gdstk.Label('ge.en.2', (-0.85,-0.85), layer=11, texttype=222))

boolean_dd6a707a = lib.new_cell('boolean_dd6a707a')
P(boolean_dd6a707a, L27_0, [(0.69,0.69),(0.1,0.69),(-0.29,0.305),(-0.29,-0.29),(0.69,-0.29)])

c_enclose_45deg_enc0_29_wi = lib.new_cell('enclose_45deg_enc0.29_width0.4_layer_GE_enc_layerGEP')
c_enclose_45deg_enc0_29_wi.add(gdstk.Reference(boolean_d471c5e5, (0,0)))
c_enclose_45deg_enc0_29_wi.add(gdstk.Reference(boolean_dd6a707a, (0,0)))

pass_fail_mk_41ecb2c1 = lib.new_cell('pass_fail_mk_41ecb2c1')
pass_fail_mk_41ecb2c1.add(gdstk.Reference(rectangle_efdcafa3, (-0.79,-0.79)))
pass_fail_mk_41ecb2c1.add(gdstk.Label('ge.en.2', (-0.54,-0.54), layer=11, texttype=222))

boolean_61ec3c66 = lib.new_cell('boolean_61ec3c66')
P(boolean_61ec3c66, L27_0, [(0.8,0.8),(-0.17,0.8),(-0.4,0.57),(-0.4,-0.4),(0.8,-0.4)])

c_enclose_cor2edge_enc0_4_ = lib.new_cell('enclose_cor2edge_enc0.4_width0.4_layer_GE_enc_layerGEP')
c_enclose_cor2edge_enc0_4_.add(gdstk.Reference(rectangle_layerge_size0p, (0,0)))
c_enclose_cor2edge_enc0_4_.add(gdstk.Reference(boolean_61ec3c66, (0,0)))

pass_fail_mk_0a148bc4 = lib.new_cell('pass_fail_mk_0a148bc4')
pass_fail_mk_0a148bc4.add(gdstk.Reference(rectangle_c5716439, (-0.9,-0.9)))
pass_fail_mk_0a148bc4.add(gdstk.Label('ge.en.2', (-0.65,-0.65), layer=11, texttype=222))

boolean_35f31bdc = lib.new_cell('boolean_35f31bdc')
P(boolean_35f31bdc, L27_0, [(0.69,0.69),(-0.125,0.69),(-0.29,0.525),(-0.29,-0.29),(0.69,-0.29)])

c_enclose_cor2edge_enc0_29 = lib.new_cell('enclose_cor2edge_enc0.29_width0.4_layer_GE_enc_layerGEP')
c_enclose_cor2edge_enc0_29.add(gdstk.Reference(rectangle_layerge_size0p, (0,0)))
c_enclose_cor2edge_enc0_29.add(gdstk.Reference(boolean_35f31bdc, (0,0)))

pass_fail_mk_ab4abe57 = lib.new_cell('pass_fail_mk_ab4abe57')
pass_fail_mk_ab4abe57.add(gdstk.Reference(rectangle_efdcafa3, (-0.79,-0.79)))
pass_fail_mk_ab4abe57.add(gdstk.Label('ge.en.2', (-0.54,-0.54), layer=11, texttype=222))

compass_layergep_size0p4 = lib.new_cell('compass_layerGEP_size0p4__0p98')
R(compass_layergep_size0p4, L27_0, [(-0.2,-0.49,0.2,0.49)])

c_rectangle_layergep_size0 = lib.new_cell('rectangle_layerGEP_size0p4__0p98')
c_rectangle_layergep_size0.add(gdstk.Reference(compass_layergep_size0p4, (0.2,0.49)))

c_enclose_touch_enc0_29_wi = lib.new_cell('enclose_touch_enc0.29_width0.4_layer_GE_enc_layerGEP')
c_enclose_touch_enc0_29_wi.add(gdstk.Reference(rectangle_layerge_size0p, (0,0)))
c_enclose_touch_enc0_29_wi.add(gdstk.Reference(c_rectangle_layergep_size0, (0,-0.29)))

pass_fail_mk_60cee0eb = lib.new_cell('pass_fail_mk_60cee0eb')
pass_fail_mk_60cee0eb.add(gdstk.Reference(rectangle_57927fd1, (-0.5,-0.79)))
pass_fail_mk_60cee0eb.add(gdstk.Label('ge.en.2', (-0.25,-0.54), layer=11, texttype=222))

boolean_ead32ee1 = lib.new_cell('boolean_ead32ee1')
P(boolean_ead32ee1, L27_0, [(0.7,0.7),(-0.3,0.7),(-0.3,0.05),(0.05,0.05),(0.05,0.35),(0.35,0.35),(0.35,0.05),(0.05,0.05),(-0.3,0.05),(-0.3,-0.3),(0.7,-0.3)])

c_enclose_hole_enc0_3_widt = lib.new_cell('enclose_hole_enc0.3_width0.4_layer_GE_enc_layerGEP')
c_enclose_hole_enc0_3_widt.add(gdstk.Reference(rectangle_layerge_size0p, (0,0)))
c_enclose_hole_enc0_3_widt.add(gdstk.Reference(boolean_ead32ee1, (0,0)))

pass_fail_mk_11eb7d58 = lib.new_cell('pass_fail_mk_11eb7d58')
pass_fail_mk_11eb7d58.add(gdstk.Reference(rectangle_27b5055d, (-0.8,-0.8)))
pass_fail_mk_11eb7d58.add(gdstk.Label('ge.en.2', (-0.55,-0.55), layer=11, texttype=222))

c_enclose_intersect_enc0_3 = lib.new_cell('enclose_intersect_enc0.3_width0.4_layer_GE_enc_layerGEP')
c_enclose_intersect_enc0_3.add(gdstk.Reference(rectangle_layerge_size0p, (-0.5,0)))
c_enclose_intersect_enc0_3.add(gdstk.Reference(rectangle_layergep_size1, (-0.3,-0.3)))

pass_fail_mk_c2f246d6 = lib.new_cell('pass_fail_mk_c2f246d6')
pass_fail_mk_c2f246d6.add(gdstk.Reference(rectangle_29ad2784, (-1,-0.8)))
pass_fail_mk_c2f246d6.add(gdstk.Label('ge.en.2', (-0.75,-0.55), layer=11, texttype=222))

c_enclose_patterns_enclosu = lib.new_cell('enclose_patterns_enclosure0.3_width0.4_layerGE_enc_layerGEP')
c_enclose_patterns_enclosu.add(gdstk.Reference(c_enclose_basic_enc0_3_wid, (0,0)))
c_enclose_patterns_enclosu.add(gdstk.Reference(pass_fail_mk_aa3016c9, (0,0)))
c_enclose_patterns_enclosu.add(gdstk.Reference(c_enclose_basic_enc0_29_wi, (-21.99,0)))
c_enclose_patterns_enclosu.add(gdstk.Reference(pass_fail_mk_ba10ad67, (-21.99,0)))
c_enclose_patterns_enclosu.add(gdstk.Reference(c_enclose_45deg_enc0_6_wid, (22.3,0)))
c_enclose_patterns_enclosu.add(gdstk.Reference(pass_fail_mk_9584cf18, (22.3,0)))
c_enclose_patterns_enclosu.add(gdstk.Reference(c_enclose_45deg_enc0_29_wi, (-43.97,0)))
c_enclose_patterns_enclosu.add(gdstk.Reference(pass_fail_mk_41ecb2c1, (-43.97,0)))
c_enclose_patterns_enclosu.add(gdstk.Reference(c_enclose_cor2edge_enc0_4_, (44.7,0)))
c_enclose_patterns_enclosu.add(gdstk.Reference(pass_fail_mk_0a148bc4, (44.7,0)))
c_enclose_patterns_enclosu.add(gdstk.Reference(c_enclose_cor2edge_enc0_29, (-65.95,0)))
c_enclose_patterns_enclosu.add(gdstk.Reference(pass_fail_mk_ab4abe57, (-65.95,0)))
c_enclose_patterns_enclosu.add(gdstk.Reference(c_enclose_touch_enc0_29_wi, (-87.64,0)))
c_enclose_patterns_enclosu.add(gdstk.Reference(pass_fail_mk_60cee0eb, (-87.64,0)))
c_enclose_patterns_enclosu.add(gdstk.Reference(c_enclose_hole_enc0_3_widt, (-109.34,0)))
c_enclose_patterns_enclosu.add(gdstk.Reference(pass_fail_mk_11eb7d58, (-109.34,0)))
c_enclose_patterns_enclosu.add(gdstk.Reference(c_enclose_intersect_enc0_3, (-131.34,0)))
c_enclose_patterns_enclosu.add(gdstk.Reference(pass_fail_mk_c2f246d6, (-131.34,0)))

c_ge = lib.new_cell('Ge')
c_ge.add(gdstk.Reference(width_patterns_width0_4_, (0,0)))
c_ge.add(gdstk.Reference(space_patterns_width0_4_, (1.33,23.105)))
c_ge.add(gdstk.Reference(area_patterns_area1_0_la, (-10.855,45.305)))
c_ge.add(gdstk.Reference(enclose_patterns_enclosu, (21.845,67.91)))
c_ge.add(gdstk.Reference(c_enclose_patterns_enclosu, (21.845,90.51)))

lib.write_gds('Ge.gds')
